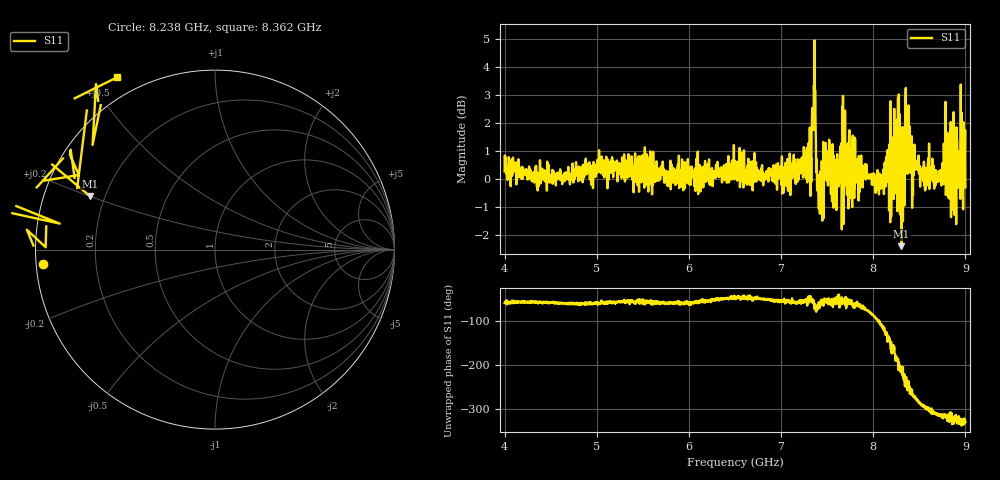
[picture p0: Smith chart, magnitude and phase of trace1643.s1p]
! Created with skrf 1.8.0 (http://scikit-rf.org).
# Hz S RI R 50.0
!freq ReS11 ImS11
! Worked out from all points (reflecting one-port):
!   1601 points, 4 GHz to 9 GHz, reference 50 ohm
!   lowest |S11| = -2.4 dB at 8.306 GHz (marker M1), VSWR 7.30, Z = 7.13 + j10.1 ohm
!   phase of S11 starts at -59 deg and turns -269 deg over the sweep
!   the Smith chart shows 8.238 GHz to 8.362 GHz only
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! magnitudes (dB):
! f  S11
! 4 GHz  0.3
! 4.625 GHz  -0.2
! 5.25 GHz  0.2
! 5.875 GHz  0.4
! 6.5 GHz  0.4
! 7.125 GHz  0.5
! 7.303 GHz  0.3
! 7.356 GHz  3.4
! 7.381 GHz  0.2
! 7.397 GHz  -0.4
! 7.412 GHz  -1.0
! 7.5 GHz  0.8
! 7.591 GHz  0.6
! 7.669 GHz  1.6
! 7.75 GHz  -0.3
! 8.075 GHz  -0.2
! 8.262 GHz  -1.1
! 8.306 GHz  -2.4
! 8.316 GHz  1.1
! 8.334 GHz  1.1
! 8.375 GHz  0.7
! 8.425 GHz  0.2
! 8.556 GHz  -0.2
! 8.684 GHz  0.0
! 8.788 GHz  -0.6
! 8.875 GHz  0.2
! 8.972 GHz  0.6
! 9 GHz  -0.3
